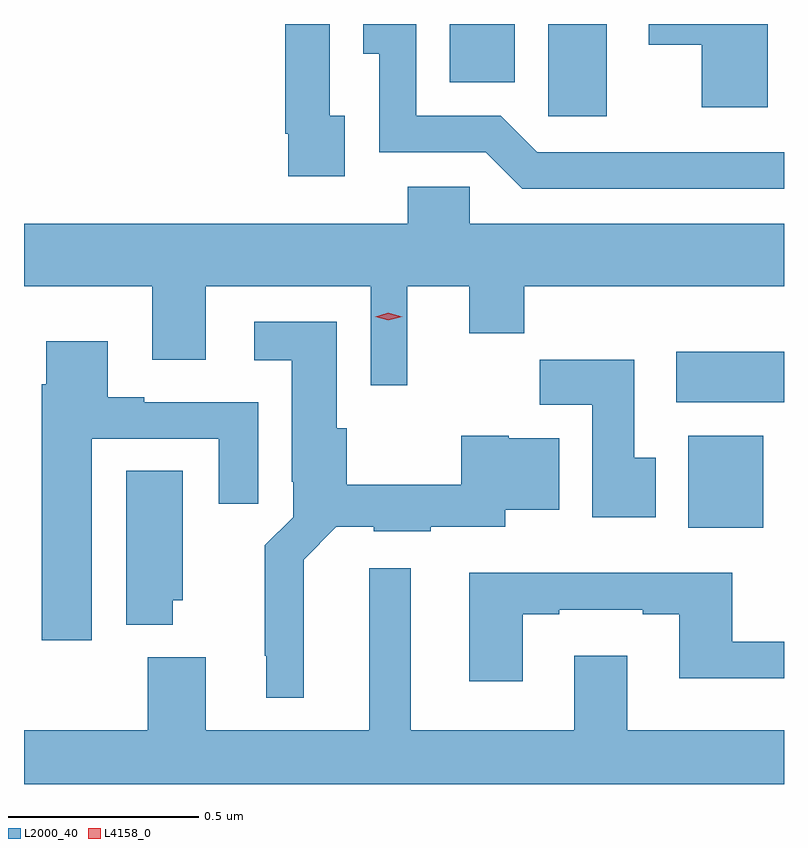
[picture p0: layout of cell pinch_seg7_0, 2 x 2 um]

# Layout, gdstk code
import gdstk
lib = gdstk.Library(unit=1e-6, precision=1e-09)
def R(c, l, rs):  # rectangles x0, y0, x1, y1
    for r in rs: c.add(gdstk.rectangle(r[:2], r[2:], *l))
def P(c, l, *ps):  # polygons
    for p in ps: c.add(gdstk.Polygon(p, *l))
L2000_40 = (2000, 40)
L4158_0 = (4158, 0)

pinch_seg7_0 = lib.new_cell('pinch_seg7_0')
R(pinch_seg7_0, L2000_40, [(1115.891,1079.9,1116.088,1080.142), (1115.859,1080.23,1116.143,1080.364), (1115.522,1080.983,1115.677,1081.226), (1115.264,1081.073,1115.434,1081.226)])
P(pinch_seg7_0, L2000_40, [(1114.987,1080.985),(1114.947,1080.985),(1114.947,1081.226),(1114.831,1081.226),(1114.831,1080.937),(1114.839,1080.937),(1114.839,1080.825),(1114.987,1080.825)],
  [(1116.1,1081.226),(1115.787,1081.226),(1115.787,1081.172),(1115.927,1081.172),(1115.927,1081.007),(1116.1,1081.007)],
  [(1116.143,1080.888),(1115.493,1080.888),(1115.397,1080.984),(1115.175,1080.984),(1115.175,1081.226),(1115.036,1081.226),(1115.036,1081.148),(1115.078,1081.148),(1115.078,1080.888),(1115.358,1080.888),(1115.454,1080.792),(1116.143,1080.792)],
  [(1115.152,1080.536),(1115.315,1080.536),(1115.315,1080.412),(1115.459,1080.412),(1115.459,1080.536),(1116.143,1080.536),(1116.143,1080.7),(1115.316,1080.7),(1115.316,1080.798),(1115.153,1080.798),(1115.153,1080.7),(1114.143,1080.7),(1114.143,1080.536),(1114.481,1080.536),(1114.481,1080.342),(1114.621,1080.342),(1114.621,1080.536),(1115.055,1080.536),(1115.055,1080.276),(1115.152,1080.276)],
  [(1114.879,1079.816),(1114.965,1079.903),(1115.064,1079.903),(1115.064,1079.891),(1115.214,1079.891),(1115.214,1079.903),(1115.41,1079.903),(1115.41,1079.948),(1115.551,1079.948),(1115.551,1080.136),(1115.418,1080.136),(1115.418,1080.142),(1115.293,1080.142),(1115.293,1080.013),(1114.992,1080.013),(1114.992,1080.162),(1114.966,1080.162),(1114.966,1080.442),(1114.749,1080.442),(1114.749,1080.341),(1114.847,1080.341),(1114.847,1080.022),(1114.851,1080.022),(1114.851,1079.928),(1114.777,1079.854),(1114.777,1079.563),(1114.781,1079.563),(1114.781,1079.453),(1114.879,1079.453)],
  [(1114.321,1080.135),(1114.655,1080.135),(1114.655,1079.964),(1114.759,1079.964),(1114.759,1080.231),(1114.459,1080.231),(1114.459,1080.244),(1114.363,1080.244),(1114.363,1080.391),(1114.202,1080.391),(1114.202,1080.278),(1114.19,1080.278),(1114.19,1079.604),(1114.321,1079.604)],
  [(1115.806,1080.084),(1115.749,1080.084),(1115.749,1080.343),(1115.5,1080.343),(1115.5,1080.224),(1115.639,1080.224),(1115.639,1079.928),(1115.806,1079.928)],
  [(1114.534,1079.709),(1114.561,1079.709),(1114.561,1080.05),(1114.412,1080.05),(1114.412,1079.645),(1114.534,1079.645)],
  [(1116.143,1079.368),(1115.731,1079.368),(1115.731,1079.563),(1115.591,1079.563),(1115.591,1079.368),(1115.161,1079.368),(1115.161,1079.794),(1115.051,1079.794),(1115.051,1079.368),(1114.621,1079.368),(1114.621,1079.56),(1114.469,1079.56),(1114.469,1079.368),(1114.143,1079.368),(1114.143,1079.226),(1116.143,1079.226)],
  [(1115.455,1079.673),(1115.551,1079.673),(1115.551,1079.685),(1115.771,1079.685),(1115.771,1079.673),(1115.867,1079.673),(1115.867,1079.504),(1116.143,1079.504),(1116.143,1079.601),(1116.007,1079.601),(1116.007,1079.782),(1115.315,1079.782),(1115.315,1079.496),(1115.455,1079.496)])
P(pinch_seg7_0, L4158_0, [(1115.102,1080.446),(1115.067,1080.456),(1115.066,1080.456),(1115.067,1080.456),(1115.102,1080.466),(1115.138,1080.456),(1115.138,1080.456),(1115.138,1080.455)])

lib.write_gds('pinch_seg7_0.gds')
